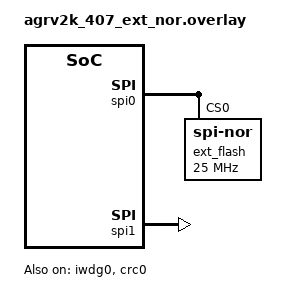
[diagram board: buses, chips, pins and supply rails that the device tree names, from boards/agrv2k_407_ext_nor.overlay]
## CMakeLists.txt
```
# SPDX-License-Identifier: Apache-2.0

cmake_minimum_required(VERSION 3.20.0)
find_package(Zephyr REQUIRED HINTS $ENV{ZEPHYR_BASE})
project(spi_boot_loader)

target_sources(app PRIVATE src/main.c)

target_include_directories(app PRIVATE src)

# Optional: the public key the driver verifies signed images with. Required when
# the build selects a BOOT_AGM_SIG_* profile, and written by
# `tools/sign_image.py --pubkey-out` in the form that profile keeps: raw 64-byte
# X||Y for ECDSA P-256, 270-byte PKCS#1 DER for RSA-2048 (AGM_BOOT_PUBKEY_LEN in
# include/zephyr/drivers/misc/boot_agm.h). The driver's weak default is all
# zeroes, which accepts nothing.
# STRING, not FILEPATH: CMake turns a relative FILEPATH cache value into an
# absolute one relative to the *current working directory* (the west
# workspace, for `west build`) before this file ever runs, which would silently
# point at the wrong place. Keeping it a string lets the resolution below use
# this directory -- so scenarios and hand-written commands can say
# `-DSPI_BOOT_PUBKEY=fixtures/ci_production.pub` and mean the sample's own
# fixtures/.
set(SPI_BOOT_PUBKEY "" CACHE STRING "trusted public key for signed builds (absolute, or relative to this directory)")
if(SPI_BOOT_PUBKEY AND NOT IS_ABSOLUTE "${SPI_BOOT_PUBKEY}")
	set(SPI_BOOT_PUBKEY "${CMAKE_CURRENT_SOURCE_DIR}/${SPI_BOOT_PUBKEY}")
endif()
if(CONFIG_BOOT_AGM_SIG_RSA2048_PSS)
	set(_pub_expect 270)
	set(_pub_what "270-byte PKCS#1 RSAPublicKey DER")
else()
	set(_pub_expect 64)
	set(_pub_what "raw 64-byte X||Y key")
endif()
if(SPI_BOOT_PUBKEY)
	if(NOT EXISTS "${SPI_BOOT_PUBKEY}")
		message(FATAL_ERROR "SPI_BOOT_PUBKEY=${SPI_BOOT_PUBKEY} does not exist")
	endif()
	file(READ "${SPI_BOOT_PUBKEY}" _pub_hex HEX)
	string(LENGTH "${_pub_hex}" _pub_hex_len)
	math(EXPR _pub_len "${_pub_hex_len} / 2")
	if(NOT _pub_len EQUAL ${_pub_expect})
		message(FATAL_ERROR
			"SPI_BOOT_PUBKEY must be the ${_pub_what}, got ${_pub_len} B")
	endif()
	string(REGEX REPLACE "(..)" "0x\\1," _pub_bytes "${_pub_hex}")
	set(_pub_c "${CMAKE_CURRENT_BINARY_DIR}/spi_boot_pubkey.c")
	file(WRITE "${_pub_c}"
"/* Generated from ${SPI_BOOT_PUBKEY} -- do not edit. */
#include <stdint.h>

const uint8_t agm_boot_pubkey[${_pub_expect}] = {
${_pub_bytes}
};
")
	# In the app target, not libzephyr: the driver ships a weak all-zeroes
	# default, and a strong definition inside the same archive would
	# never be picked over it.
	target_sources(app PRIVATE "${_pub_c}")
	message(STATUS "spi_boot_loader: trusted public key from ${SPI_BOOT_PUBKEY}")
endif()

# The production profile (CONFIG_BOOT_AGM_PRODUCTION_PROFILE) gates every
# state change behind a command signed with that key. Building it without one
# produces the exact board the production-lock design 6.4 warns about: it
# boots, it answers, and nothing can ever update it again in-band. The driver
# prints that at boot for applications that wire it up themselves; here, where
# the key is a build input, the build stops instead.
if(CONFIG_BOOT_AGM_PRODUCTION_PROFILE AND NOT SPI_BOOT_PUBKEY)
	message(FATAL_ERROR
		"CONFIG_BOOT_AGM_PRODUCTION_PROFILE=y needs a trusted public key: "
		"pass -DSPI_BOOT_PUBKEY=<file> (raw 64-byte X||Y from "
		"`tools/sign_image.py --pubkey-out`, or the 270-byte PKCS#1 DER for "
		"an RSA profile). A production image without one would refuse every "
		"state change -- see the production-lock design 6.4.")
endif()

# Optional: the trusted key for signed *fabric* (bitstream) images
# (CONFIG_BOOT_AGM_BITSTREAM_SIGNED). Always the raw 64-byte X||Y P-256 key,
# whatever the application profile is -- the fabric is verified in the boot
# path, before the kernel's heap exists, and only the tinycrypt P-256 verifier
# is allocation-free (include/zephyr/drivers/misc/agm_bitstream.h).
#
# Leaving this empty is fine in a P-256 build: the driver then falls back to
# `agm_boot_pubkey`, so one keypair signs both. An RSA build has nothing to
# fall back to and needs this to be set (otherwise the all-zeroes weak default
# refuses every fabric update, loudly).
set(SPI_BOOT_BITSTREAM_PUBKEY "" CACHE STRING
    "trusted public key for signed fabric builds (64 B raw X||Y; absolute, or relative to this directory)")
if(SPI_BOOT_BITSTREAM_PUBKEY AND NOT IS_ABSOLUTE "${SPI_BOOT_BITSTREAM_PUBKEY}")
	set(SPI_BOOT_BITSTREAM_PUBKEY "${CMAKE_CURRENT_SOURCE_DIR}/${SPI_BOOT_BITSTREAM_PUBKEY}")
endif()
if(SPI_BOOT_BITSTREAM_PUBKEY)
	if(NOT EXISTS "${SPI_BOOT_BITSTREAM_PUBKEY}")
		message(FATAL_ERROR
			"SPI_BOOT_BITSTREAM_PUBKEY=${SPI_BOOT_BITSTREAM_PUBKEY} does not exist")
	endif()
	file(READ "${SPI_BOOT_BITSTREAM_PUBKEY}" _bspub_hex HEX)
	string(LENGTH "${_bspub_hex}" _bspub_hex_len)
	math(EXPR _bspub_len "${_bspub_hex_len} / 2")
	if(NOT _bspub_len EQUAL 64)
		message(FATAL_ERROR
			"SPI_BOOT_BITSTREAM_PUBKEY must be the raw 64-byte X||Y P-256 key, got ${_bspub_len} B")
	endif()
	string(REGEX REPLACE "(..)" "0x\\1," _bspub_bytes "${_bspub_hex}")
	set(_bspub_c "${CMAKE_CURRENT_BINARY_DIR}/spi_boot_bitstream_pubkey.c")
	file(WRITE "${_bspub_c}"
"/* Generated from ${SPI_BOOT_BITSTREAM_PUBKEY} -- do not edit. */
#include <stdint.h>

const uint8_t agm_boot_bitstream_pubkey[64] = {
${_bspub_bytes}
};
")
	target_sources(app PRIVATE "${_bspub_c}")
	message(STATUS "spi_boot_loader: fabric public key from ${SPI_BOOT_BITSTREAM_PUBKEY}")
endif()
```

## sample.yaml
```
# SPDX-License-Identifier: Apache-2.0
sample:
  name: spi_boot_loader
  description: |
    Stage-1 bootloader: lives in the on-die flash, keeps a boot record plus
    an A/B pair of images in the flash pointed at by `store-flash` (the
    on-board SPI NOR by default, or the on-die flash itself for the
    on-die-only layout), copies the winning image into the on-die
    application slot and runs it, and can update the fabric bitstream. The
    protocol servers (AN3155 for agrv32flash, SMP for mcumgr) are part of
    the boot driver. Builds are hardware-dependent (bitstream routing), so
    both cases are build_only.
tests:
  sample.spi_boot_loader.agm_agrv2k_407:
    build_only: true
    platform_allow:
      - agrv2k_407
    integration_platforms:
      - agrv2k_407
    tags:
      - ci_build
      - hal_ag32
  sample.spi_boot_loader.ext_nor.agm_agrv2k_407:
    build_only: true
    extra_args:
      - EXTRA_DTC_OVERLAY_FILE=boards/agrv2k_407_ext_nor.overlay
    platform_allow:
      - agrv2k_407
    integration_platforms:
      - agrv2k_407
    tags:
      - ci_build
      - hal_ag32
  # The trimmed build: both protocol servers off. This is what caught the
  # console calling into the AN3155 server unconditionally -- turning the
  # option off used to be a link error instead of a smaller image (the
  # sample's own 0x7F INIT handler and `an-status` command were the two
  # references; the driver-side ones are already guarded by the header).
  sample.spi_boot_loader.trimmed.agm_agrv2k_407:
    build_only: true
    extra_configs:
      - CONFIG_BOOT_AGM_AN3155=n
      - CONFIG_BOOT_AGM_SMP=n
    platform_allow:
      - agrv2k_407
    integration_platforms:
      - agrv2k_407
    tags:
      - ci_build
      - hal_ag32
  # The signed fabric: the bitstream slots hold signed MCUboot containers, so
  # the boot path verifies the fabric before it streams it. No key is passed
  # (the driver's weak default is all zeroes and accepts nothing) -- what this
  # scenario covers is the build itself: the Kconfig combination, the
  # tinycrypt link, and the interrupt-stack requirement, which is a
  # BUILD_ASSERT in soc/agm/agrv2k/fcb.c precisely because getting it wrong
  # leaves a board that never reaches the console.
  sample.spi_boot_loader.bs_signed.agm_agrv2k_407:
    build_only: true
    extra_configs:
      - CONFIG_BOOT_AGM_SIG_ECDSA_P256=y
      - CONFIG_BOOT_AGM_BITSTREAM_SIGNED=y
      - CONFIG_ISR_STACK_SIZE=4096
    platform_allow:
      - agrv2k_407
    integration_platforms:
      - agrv2k_407
    tags:
      - ci_build
      - hal_ag32
  # ... and the same with an RSA application profile, which is the build that
  # links *both* verifiers: PSA/RSA for the application images and tinycrypt
  # P-256 for the fabric.
  sample.spi_boot_loader.bs_signed_rsa.agrv2k_407:
    build_only: true
    extra_configs:
      - CONFIG_BOOT_AGM_SIG_RSA2048_PSS=y
      - CONFIG_BOOT_AGM_BITSTREAM_SIGNED=y
      - CONFIG_ISR_STACK_SIZE=4096
      - CONFIG_MBEDTLS_PSA_KEY_SLOT_COUNT=2
    platform_allow:
      - agrv2k_407
    integration_platforms:
      - agrv2k_407
    tags:
      - ci_build
      - hal_ag32
  # The production profile's shape (R2b, the production-lock design 6.4):
  # publishing an upload and erasing a target need a signed command, and the
  # vendor tool's server -- which cannot carry one -- is compiled out. No key is
  # passed, as in bs_signed above: a locked build with no P-256 key refuses
  # every state change (fail closed), and what this scenario pins is that the
  # combination builds (it links tinycrypt for the command verifier).
  sample.spi_boot_loader.locked.agm_agrv2k_407:
    build_only: true
    extra_configs:
      - CONFIG_BOOT_AGM_AN3155=n
      - CONFIG_BOOT_AGM_LOCK_PRODUCTION=y
    platform_allow:
      - agrv2k_407
    integration_platforms:
      - agrv2k_407
    tags:
      - ci_build
      - hal_ag32
  # The production profile's *shipped* shape: one preset pulls in the lock, the
  # SMP server (the only path that can sign a command), the signed fabric and
  # the mcumgr/base64 stack it needs, defaults AN3155 off and the signature
  # profile to ECDSA P-256 (see CONFIG_BOOT_AGM_PRODUCTION_PROFILE). The public
  # key is a checked-in CI key (fixtures/README.md): without any key the
  # sample's CMake refuses to configure, which is the point -- a production
  # image nobody can update again is a build error, not a surprise found on a
  # board. ISR_STACK_SIZE is what the signed-fabric verifier needs (fcb.c has
  # the BUILD_ASSERT).
  sample.spi_boot_loader.production.agm_agrv2k_407:
    build_only: true
    extra_args:
      - SPI_BOOT_PUBKEY=fixtures/ci_production.pub
    extra_configs:
      - CONFIG_BOOT_AGM_PRODUCTION_PROFILE=y
      - CONFIG_ISR_STACK_SIZE=4096
    platform_allow:
      - agrv2k_407
    integration_platforms:
      - agrv2k_407
    tags:
      - ci_build
      - hal_ag32
```

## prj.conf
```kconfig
# SPDX-License-Identifier: Apache-2.0
#
# Stage-1 loader: lives in the on-die flash (XIP), owns a boot record and a
# payload in the on-board SPI NOR, and jumps into the payload.
CONFIG_XIP=y

CONFIG_SERIAL=y
CONFIG_UART_CONSOLE=y
CONFIG_PRINTK=y
CONFIG_STDOUT_CONSOLE=y

# External SPI NOR on SPI0 (through the fabric patch in the canonical
# bitstream) -- same stack samples/spi_nor_flash uses. The default layout keeps
# everything on-die and does not touch the NOR at all, so these are only needed
# for boards/agrv2k_407_ext_nor.overlay; leaving them on costs ~9 KB of a
# 96 KiB region and keeps one binary working for both.
CONFIG_SPI=y
CONFIG_FLASH=y
CONFIG_SPI_NOR_FLASH_LAYOUT_PAGE_SIZE=4096
# The on-die flash driver (drivers/flash/flash_agm.c) is what lets the loader
# write the application slot at 0x80010000.
CONFIG_FLASH_AGM=y
CONFIG_FLASH_PAGE_LAYOUT=y
# The engine's long transfers (page reads/writes) stream through DMA, and
# the SPI driver's config keeps a DMA device pointer -- without CONFIG_DMA
# the link fails on the DMA device object. Same as the other SPI samples.
CONFIG_DMA=y

# Boot record + payload CRC.
CONFIG_CRC=y

# The backup-domain IWDG is pulled in by CONFIG_BOOT_AGM_TRIAL_WATCHDOG (the
# loader arms it right before a trial boot so an image that hangs resets the
# board instead of wedging it -- the A/B attempt counter only advances on a
# reset). See the trial-boot handshake in
# include/zephyr/drivers/misc/boot_agm.h; the board overlay enables &iwdg0.
# The on-die A/B layout, whose loader region is 64 KiB, turns the feature off
# instead (see boards/agrv2k_407_on_die_ab.overlay and sample.yaml).

# The `reboot` command: after a bitstream update the new fabric only takes
# effect on the next boot (the boot path programs the FCB from flash).
CONFIG_REBOOT=y

# The loader's informational boot log (which fabric slot the FCB streamed this
# boot, and similar) sits behind this switch so a production image does not
# spend early-console time on it; the loader sample keeps it on because the
# dev-board workflow reads those lines (-15).
CONFIG_BOOT_AGM_VERBOSE_LOG=y

# mcumgr (SMP) -- the second host protocol next to AN3155/agrv32flash. Only
# the transport layer is taken from Zephyr; the image management group is the
# boot driver's (it keeps CRC32 records and its own stores, where the stock
# group wants MCUboot image headers and a flash map). CONFIG_BOOT_AGM_SMP
# selects CONFIG_MCUMGR_TRANSPORT_SERIAL_HAS_SMP_OVER_CONSOLE, which pulls in
# the base64 line framing helpers (mcumgr_serial_process_frag/_tx_pkt) without
# enabling the UART driver that would take the console port for itself.
# CONFIG_MCUMGR is "depends on" these two, so they have to be on as well
# (otherwise MCUMGR is silently forced back to n).
CONFIG_ZCBOR=y
CONFIG_NET_BUF=y
CONFIG_MCUMGR=y
CONFIG_MCUMGR_GRP_OS=y
# The hosts ask for the MCUmgr parameters before the first upload (smpmgr
# fails with "is the device an SMP server?" without it): it tells the client
# how big a chunk it may send.
CONFIG_MCUMGR_GRP_OS_MCUMGR_PARAMS=y
CONFIG_MCUMGR_GRP_OS_INFO=y
CONFIG_MCUMGR_TRANSPORT_NETBUF_SIZE=512
CONFIG_MCUMGR_TRANSPORT_NETBUF_COUNT=4
# The console loop below polls the UART without ever blocking (that is what
# keeps the tail of a typed line from being dropped), so the mcumgr request
# work queue has to preempt it -- at the default priority 3 (below main's 0)
# it would never get to run and every SMP request would time out.
CONFIG_MCUMGR_TRANSPORT_WORKQUEUE_THREAD_PRIO=-1
# ... and that work queue is where an upload's *verification* runs (the
# publish happens in the chunk handler), so its stack has to hold the whole
# crypto chain: the container hash, the ECDSA/RSA check and -- with
# CONFIG_BOOT_AGM_BIND -- the per-chip tag. The Zephyr default (2048) is not
# enough for all three: measured 2026-09-24, a bound loader with the default
# overflowed this stack inside the check, corrupted a saved return address and
# faulted with an illegal instruction (mcause 2, mepc in RAM below the stack)
# right after printing the refusal; 4096 runs the same upload cleanly. A
# signed build without binding fits in 2048, which is why this only shows up
# now. drivers/misc/boot_agm_bind.c asserts the floor at compile time.
CONFIG_MCUMGR_TRANSPORT_WORKQUEUE_STACK_SIZE=4096
CONFIG_BASE64=y

# The console is polled straight off the UART device: Zephyr's console
# helpers are a choice between console_getchar() and console_getline(), and
# this loader needs both styles -- a non-blocking "is a key pending?" for the
# boot window (the equivalent of the vendor DFU's "stay in DFU" button) and a
# blocking line reader for commands.

CONFIG_MAIN_STACK_SIZE=3072
```

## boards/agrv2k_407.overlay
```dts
/* SPDX-License-Identifier: Apache-2.0 */
/*
 * Default layout: A/B entirely inside the on-die flash, no external NOR.
 *
 * The loader, the boot record, both image sides, the application slot and the
 * bitstream staging all live in the 1 MiB the SoC has anyway, so the loader
 * never touches the SPI NOR -- a board without one works, and a fabric
 * bitstream that does not route SPI0 back to the engine is not a failure mode
 * any more (the port record (peripherals) 3.26.7).
 *
 * The sizes are the whole configuration: `loader-size` and `app-size` (a
 * binding default of 200 KiB). The driver derives the offsets from them, and
 * the rest is fixed by the SoC (agm_bitstream.h) -- the fabric A/B slots, the
 * bitstream record and the factory region all sit at the same addresses in
 * whichever family the board uses:
 *
 *   0x000000  loader               96 KiB   (loader-size)
 *   0x018000  side A              200 KiB   (app-size)
 *   0x04a000  side B              200 KiB   (app-size)
 *   0x07c000  application slot    200 KiB   (app-size; runs at 0x8007c000)
 *   0x0ae000  app boot record       8 KiB   (two erase sectors, two copies)
 *   0x0b0000  bind-salt sector      4 KiB   (derived: right after the record)
 *   0x0b1000  free                 12 KiB   (app-size can grow into it)
 *   0x0b4000  fabric slot 1       100 KiB   (derived from the factory anchor)
 *   0x0cd000  fabric slot 2       100 KiB   (derived)
 *   0x0e6000  fabric A/B record     4 KiB   (derived)
 *   0x0e7000  factory fabric      100 KiB   (the option byte's target)
 *
 * Every position is derived: the app chain packs up from 0 (loader, A, B,
 * the application slot, then the 12 KiB metadata block: boot record + salt),
 * the fabric area packs down from the factory anchor (Config
 * AGM_BITSTREAM_FACTORY_ADDR / _SLOT_SIZE in drivers/misc/Kconfig.agm), and
 * the build asserts where the two meet -- raise `app-size` and the assertion
 * is what tells you when it no longer fits (12 KiB of headroom today). The
 * full picture, the two layout families and who writes what:
 * docs/FLASH-LAYOUT.md.
 *
 * 96 KiB for the loader is deliberate: the signed loader is 72768 B
 * (measured 2026-09-18) plus the 604 B of trial-watchdog driver, so the
 * layout that used to be unable to hold either now holds both.
 *
 * The two-flash variant lives in boards/agrv2k_407_ext_nor.overlay.
 */

/*
 * The loader's own region. Pointing `/chosen/zephyr,flash` at a *partition* is
 * what gives the RISC-V linker its ROM base and size (CONFIG_FLASH_BASE_ADDRESS
 * / CONFIG_FLASH_SIZE, see include/zephyr/arch/riscv/common/linker.ld), so a
 * loader that grows past its region fails the build instead of running into
 * the boot record -- measured 2026-09-18: the signed loader (72768 B) silently
 * grew into the record, and both the build and the flash write reported
 * success (the port record (peripherals) 3.26.27).
 *
 * Keep this in step with `loader-size` in the boot node below.
 */
&flash0 {
	partitions {
		compatible = "fixed-partitions";
		#address-cells = <1>;
		#size-cells = <1>;

		loader_region: partition@80000000 {
			label = "boot_loader";
			reg = <0x80000000 0x18000>;
		};
	};
};

/ {
	chosen {
		zephyr,flash = &loader_region;
	};
};

/*
 * The layout (the binding's "on-die" family: `store-flash` and
 * `on-die-flash` are the same node, so the driver derives the offsets).
 */
/ {
	boot: boot {
		compatible = "agm,agrv2k-boot";
		status = "okay";

		store-flash = <&flash0>;
		on-die-flash = <&flash0>;

		/* How big the application may get. Both sides and the
		 * execution slot are sized for it; 200 KiB is the default, so
		 * this line is the knob to turn when an image outgrows it. */
		app-size = <0x32000>;
		/* Everything below the boot record belongs to the loader. */
		loader-size = <0x18000>;

		bitstream-address = <0x800e7000>;
		bitstream-size = <0x00019000>;
	};
};

/*
 * The backup-domain watchdog the loader arms before a trial boot: the IWDG is
 * the only reset source that also runs in standby, so the dtsi leaves it
 * disabled and each user has to ask for it.
 */
&iwdg0 {
	status = "okay";
};

/*
 * The CRC unit, for the slot/record CRCs the loader computes on every boot.
 * Enabling the node is not enough: Zephyr's CRC hardware handler keys off the
 * `zephyr,crc` chosen node (subsys/crc/Kconfig), and with one present it
 * replaces the weak software crc32_ieee() with the driver-backed one --
 * measured on this board: the 99944 B fabric CRC drops from ~67 ms to ~3.5 ms.
 * soc.c opens the unit's AHB clock gate before the fabric verifier runs.
 */
&crc0 {
	status = "okay";
};

/ {
	chosen {
		zephyr,crc = &crc0;
	};
};
```

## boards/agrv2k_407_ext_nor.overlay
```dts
/* SPDX-License-Identifier: Apache-2.0 */
/*
 * Two-flash A/B: the boot record and the image stores live in the on-board
 * SPI NOR, the application slot and everything fabric-related in the on-die
 * flash. Note the asymmetry: the *staging* for fabric images does **not**
 * move to the NOR -- the fabric A/B slots, their record and the factory
 * region are fixed on-die by the SoC (agm_bitstream.h), because fcb.c has to
 * find the record before any driver runs, in every image. The NOR only holds
 * application images here. This is *not* the default any more (the default
 * keeps everything on-die, see boards/agrv2k_407.overlay) -- use it when the
 * external NOR is there and its 2 MiB are wanted:
 *
 *   west build -d /tmp/b_nor -b agrv2k_407 --pristine=auto \
 *       modules/hal_ag32/samples/spi_boot_loader -- \
 *       -DEXTRA_DTC_OVERLAY_FILE=boards/agrv2k_407_ext_nor.overlay
 *
 * Everything below is the layout; the loader's own region and the trial-boot
 * watchdog are set up the same way the default overlay does it.
 */
/*
 * The on-board SPI NOR, as samples/spi_nor_flash/spi_flash_id set it up.
 *
 * Which controller reaches the flash is a bitstream property: the canonical
 * 200 MHz bitstream (`<your canonical bitstream>`) puts
 * it behind SPI0's fabric patch -- measured 2026-09-17 with spi_flash_id:
 * `spi@40012000` reads RDID 68 40 15, SPI1 reads zeros. Both are enabled
 * here so the loader works on either routing; the flash node is only
 * attached to SPI0, which is the one the loader uses.
 */
&spi0 {
	status = "okay";

	ext_flash: flash@0 {
		compatible = "jedec,spi-nor";
		reg = <0>;
		spi-max-frequency = <25000000>;
		jedec-id = [68 40 15];
		/* Binding says "capacity in bits": 16 Mbit = 2 MiB. */
		size = <0x1000000>;
	};
};

&spi1 {
	status = "okay";
};

&dma0 {
	status = "okay";
};

/*
 * The loader's own region, i.e. everything below the application slot.
 *
 * This is not decoration: pointing `/chosen/zephyr,flash` at a *partition*
 * is what gives the RISC-V linker its ROM base and size
 * (CONFIG_FLASH_BASE_ADDRESS / CONFIG_FLASH_SIZE, see
 * include/zephyr/arch/riscv/common/linker.ld), so a loader that grows past
 * its region fails the build instead of running into whatever the next
 * region holds -- measured 2026-09-18: the signed loader (72768 B) silently
 * grew into the on-die layout's boot record at 0x010000, and both the build
 * and the flash write reported success.
 *
 * The region is `slot-address - flash base` (the slot below is the first
 * thing that must not be overwritten); the default on-die overlay sizes it
 * from the boot node's `loader-size` instead.
 */
&flash0 {
	partitions {
		compatible = "fixed-partitions";
		#address-cells = <1>;
		#size-cells = <1>;

		loader_region: partition@80000000 {
			label = "boot_loader";
			reg = <0x80000000 0x30000>;
		};
	};
};

/ {
	chosen {
		zephyr,flash = &loader_region;
	};
};

/*
 * The bootloader's storage layout (the "two flashes" family of the binding:
 * every offset is spelled out because the two flashes are independent address
 * spaces).
 */
/ {
	boot: boot {
		compatible = "agm,agrv2k-boot";
		status = "okay";

		store-flash = <&ext_flash>;
		on-die-flash = <&flash0>;

		/* External NOR: the record takes sectors 0 and 1 (it is an
		 * append log, see the port record (peripherals) 3.26.24),
		 * the stores follow 512 KiB apart. */
		record-offset = <0x000000>;
		record-size = <0x001000>;
		store-a-offset = <0x002000>;
		store-b-offset = <0x081000>;
		store-max-size = <0x07f000>;

		/* On-die flash: application slot, then the fabric reservation. */
		slot-address = <0x80030000>;
		slot-size = <0x00080000>;
		bitstream-address = <0x800e7000>;
		bitstream-size = <0x00019000>;

	};
};

/*
 * The backup-domain watchdog the loader arms before a trial boot (W3 in
 * the boot/DFU notes): the IWDG is the only reset source that also runs
 * in standby, so the dtsi leaves it disabled and each user has to ask for it.
 */
&iwdg0 {
	status = "okay";
};

/* Same CRC unit as the on-die layout: the loader CRCs every slot it boots
 * (see the on-die overlay for the measurement and the chosen-node rule). */
&crc0 {
	status = "okay";
};

/ {
	chosen {
		zephyr,crc = &crc0;
	};
};
```

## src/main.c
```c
/*
 * Copyright (c) 2026 AgRV Contributors
 * SPDX-License-Identifier: Apache-2.0
 */

/**
 * @file
 * @brief spi_boot_loader -- the console in front of the AgRV2K boot driver.
 *
 * All of the storage and DFU logic lives in the driver
 * (drivers/misc/boot_agm.c, include/zephyr/drivers/misc/boot_agm.h); this
 * file is the operator interface:
 *
 *   - the line-oriented console (help/info/mode/once/install-slot/confirm/
 *     rollback/erase/boot/upload/an-status/reboot);
 *   - the demultiplexer that gives the console UART to the two protocol
 *     servers: 0x7F starts an AN3155 session (agrv32flash) and the
 *     0x0609/0x0414 line headers feed mcumgr (smpmgr);
 *   - the 1.5 s boot window: any character cancels the boot and keeps the
 *     console, which is the only way back in when the record points at a bad
 *     image.
 */

#include <zephyr/device.h>
#include <zephyr/devicetree.h>
#include <zephyr/drivers/misc/boot_agm.h>
#include <zephyr/drivers/uart.h>
#include <zephyr/kernel.h>
#include <zephyr/sys/crc.h>
#include <zephyr/sys/printk.h>
#include <zephyr/sys/reboot.h>
#include <zephyr/sys/util.h>

#include <stdio.h>
#include <string.h>

#if IS_ENABLED(CONFIG_MCUMGR_TRANSPORT_SERIAL_HAS_SMP_OVER_CONSOLE)
#include <zephyr/mgmt/mcumgr/transport/serial.h>
/* mcumgr support is compiled in (CONFIG_BOOT_AGM_SMP). */
#define BOOT_LOADER_SMP 1
#endif

/* The AN3155 server (agrv32flash's protocol) is a driver-side option, so the
 * console's entry point into it -- the 0x7F INIT byte and the `an-status`
 * command -- has to disappear with it: with CONFIG_BOOT_AGM_AN3155=n the
 * header declares neither `agm_boot_an3155_run()` nor its status printer, and
 * the driver source is not compiled in. Leaving these calls unguarded was what
 * made "the trimmed build" (AN3155 off, along with mcumgr's ~13 KB) fail to
 * link instead of just getting smaller. */
#if IS_ENABLED(CONFIG_BOOT_AGM_AN3155)
#define BOOT_LOADER_AN3155 1
#endif

#define BOOT_DEV DEVICE_DT_GET(DT_NODELABEL(boot))

/* The loader is linked against the `boot_loader` partition (the board overlay
 * points /chosen/zephyr,flash at it) while the boot node separately says how
 * much of the flash below the record belongs to the loader. Nothing bound
 * those two numbers together: change one and the mismatch shows up as a link
 * error at best, or as a loader that grew into the record at worst (the
 * 2026-09-18 incident). Bind them here (RF-NEW-008).
 *
 * Which number that is depends on the layout family, same as in the driver:
 * the on-die family derives everything from `loader-size`, the two-flash
 * family spells the slot out and the loader owns everything below it. */
#define T_BOOT_NODE DT_NODELABEL(boot)

#if DT_SAME_NODE(DT_PROP(T_BOOT_NODE, store_flash), DT_PROP(T_BOOT_NODE, on_die_flash))
#define T_LOADER_REGION_SIZE ((uint32_t)DT_PROP(T_BOOT_NODE, loader_size))
#else
#define T_LOADER_REGION_SIZE ((uint32_t)DT_PROP(T_BOOT_NODE, slot_address) - \
			      (uint32_t)DT_REG_ADDR(DT_PROP(T_BOOT_NODE, on_die_flash)))
#endif

BUILD_ASSERT(DT_REG_SIZE(DT_NODELABEL(loader_region)) == T_LOADER_REGION_SIZE,
	     "the boot_loader partition and the boot node's loader region disagree");

/* How long the boot decision waits for a keypress before it acts on the
 * record. Without this the console is unreachable whenever the record says
 * "boot the image" -- including when that image is exactly what needs
 * replacing. */
#define BOOT_ABORT_WINDOW_MS 1500

static const struct device *const console_uart =
	DEVICE_DT_GET(DT_CHOSEN(zephyr_console));

/* ---- console -------------------------------------------------------- */

static bool console_poll_char(char *c)
{
	return agm_boot_console_poll(BOOT_DEV, c) == 0;
}

#define SMP_HDR_PKT_1  0x06U
#define SMP_HDR_FRAG_1 0x04U

/* How long one mcumgr line may take before it is dropped. A host writes a
 * line in one burst (the 5 ms header window above is the same idea); this
 * only has to outlast the USB CDC latency, not a slow human. */
#define SMP_LINE_TIMEOUT_MS 1000

#ifdef BOOT_LOADER_SMP
/* Collect the rest of one mcumgr line and hand it to the SMP server.
 *
 * mcumgr's UART framing is base64 lines behind a header: 0x0609 starts a
 * packet, 0x0414 continues a fragmented one, and the line ends with '\n'
 * (exactly what Zephyr's own UART transport driver feeds to
 * mcumgr_serial_process_frag(), newline included). Nothing is echoed: the
 * host reads protocol replies, not our console.
 *
 * Returns false when the bytes are not a frame header after all (a stray 0x06
 * typed at the console), so the caller can keep treating them as text.
 */
static bool console_smp_line(uint8_t c_in)
{
	static uint8_t frag[MCUMGR_SERIAL_MAX_FRAME + 8U];
	uint32_t n = 0U;
	int64_t from = k_uptime_get();
	char c;

	frag[n++] = c_in;

	/* The second header byte follows immediately in the same burst. */
	while (k_uptime_get() - from < 5) {
		if (console_poll_char(&c)) {
			if ((uint8_t)c != MCUMGR_SERIAL_HDR_PKT_2 &&
			    (uint8_t)c != MCUMGR_SERIAL_HDR_FRAG_2) {
				return false;
			}
			frag[n++] = (uint8_t)c;
			break;
		}
		arch_nop();
	}
	if (n != 2U) {
		return false;
	}

	/* Then the base64 payload and the newline that ends the line. A
	 * fragmented packet arrives as several such lines.
	 *
	 * Bounded on purpose: a host that starts a line and never ends it (or a
	 * stray 0x06 typed at the console) used to park this loop forever, and
	 * the only way back was a reset (measured 2026-09-18). A line longer
	 * than the buffer is a bad frame too -- do not silently drop its tail. */
	for (;;) {
		if (console_poll_char(&c)) {
			if (n >= sizeof(frag)) {
				printk("loader: mcumgr line too long, dropped\n");
				return false;
			}
			frag[n++] = (uint8_t)c;
			from = k_uptime_get();
			if (c == '\n') {
				break;
			}
			continue;
		}
		if (k_uptime_get() - from > SMP_LINE_TIMEOUT_MS) {
			printk("loader: mcumgr line timed out, dropped\n");
			return false;
		}
		arch_nop();
	}

	agm_boot_smp_rx(BOOT_DEV, frag, n);
	return true;
}
#endif /* BOOT_LOADER_SMP */

/* Blocking line reader with echo: CR/LF ends the line, backspace edits it.
 *
 * Returns true when @a buf holds a command. It returns false when the console
 * was handed to the AN3155 server instead -- and then @a buf must not be
 * parsed: it used to be left holding the *previous* command, so every
 * agrv32flash session ended by running that command again (measured
 * 2026-09-18: `erase` re-ran after a read-only session). */
static bool console_read_line(char *buf, size_t len)
{
	size_t n = 0;
	char c;

	for (;;) {
		/* Tight poll: the PL011 RX FIFO is 16 bytes deep (the SDK
		 * configures UART_LCR_FIFO_16) and the probe's CDC-ACM bridge
		 * delivers a typed line as one burst, so anything slower than a
		 * busy loop drops the tail of the line -- measured 2026-09-17:
		 * a 19-byte command arrived as 15 bytes and never terminated. */
		if (!console_poll_char(&c)) {
			arch_nop();
			continue;
		}
		if (c == 0x7F) {
			/* The vendor tool's INIT byte: hand the console over to
			 * the AN3155 server (agrv32flash -m 8n1 ...). It has to be
			 * recognised even mid-line -- leftover bytes from a
			 * previous session used to leave n > 0, and then the INIT
			 * was eaten as text and the tool reported "Failed to init
			 * device". 0x7F is not treated as backspace (use 0x08). */
			buf[0] = '\0';
#ifdef BOOT_LOADER_AN3155
			agm_boot_an3155_run(BOOT_DEV);
			return false;
#else
			/* No AN3155 server in this build: swallow the byte so it
			 * cannot end up in the next command line. */
			printk("loader: AN3155 is not compiled in "
			       "(CONFIG_BOOT_AGM_AN3155=n)\n");
			continue;
#endif
		}
#ifdef BOOT_LOADER_SMP
		if (c == (char)SMP_HDR_PKT_1 || c == (char)SMP_HDR_FRAG_1) {
			/* mcumgr (SMP over console): hand the line over and stay
			 * in the console loop. */
			if (console_smp_line((uint8_t)c)) {
				continue;
			}
		}
#endif
		if (c == '\r' || c == '\n') {
			/* The LF of a CRLF ending is left in the FIFO on purpose:
			 * the upload phase skips stray line endings before the
			 * first frame byte, while peeking here would swallow the
			 * first byte of a binary phase that follows immediately. */
			printk("\r\n");
			break;
		}
		if (c == '\b') {
			if (n > 0) {
				n--;
				printk("\b \b");
			}
			continue;
		}
		if (n + 1 < len) {
			buf[n++] = c;
			uart_poll_out(console_uart, c);
		}
	}
	buf[n] = '\0';
	return true;
}

/* ---- boot window ---------------------------------------------------- */

static bool console_abort_requested(void)
{
	char c;

	printk("loader: booting in %u ms -- send any character to stay in the "
	       "console\n", BOOT_ABORT_WINDOW_MS);

	for (uint32_t waited = 0; waited < BOOT_ABORT_WINDOW_MS; waited += 50) {
		if (console_poll_char(&c)) {
			printk("loader: console input detected -- boot cancelled\n");
			return true;
		}
		k_msleep(50);
	}
	return false;
}

/* ---- console commands ----------------------------------------------- */

static void print_help(void)
{
	printk("commands:\n"
	       "  info                             one-shot + record + slot state\n"
	       "  mode <auto|internal>             persistent boot mode\n"
	       "  once <none|internal>             next boot only (RTC backup domain)\n"
	       "  confirm                          promote the active store to CONFIRMED\n"
	       "  rollback                         make the other store active\n"
	       "  upload <a|b|slot|bitstream>      receive an image over this console\n"
	       "                                   (slot = on-die flash DFU; see\n"
	       "                                   tools/agm_upload.py)\n"
	       "  install-slot                     copy the active store into the\n"
	       "                                   on-die application slot\n"
	       "  erase [a|bitstream]             drop store A's image, or the pending bitstream\n"
#ifdef BOOT_LOADER_AN3155
	       "  an-status                        last AN3155 session's diagnostics\n"
#endif
	       "  reboot                           cold reboot\n"
	       "  boot                             apply the boot policy now\n"
#if defined(CONFIG_BOOT_AGM_LOCK_PRODUCTION)
	       /* Review RF-007: an operator who tries upload/erase here gets
		* the driver's refusal, and this is the line that says what to
		* do instead. The two paths cannot be handed the second grant an
		* upload needs (see the Kconfig help). */
	       "production lock is on: upload/publish/erase need a signed command --\n"
	       "  upload from a host instead: tools/smp_cli.py <port> upload <image> <file>\n"
	       "  --authorize <key.pem>  (this console and agrv32flash cannot publish)\n"
#endif
	       );
}

static void print_info(void)
{
	struct agm_boot_info info;

	agm_boot_info_get(BOOT_DEV, &info);

	printk("one-shot : %s\n", agm_boot_mode_name(info.once));
	if (info.record_valid) {
		printk("record   : magic ok, mode %s, active %c\n",
		       agm_boot_mode_name(info.mode), info.active == 0U ? 'A' : 'B');
		/* The anti-rollback floor (0 in builds without
		 * CONFIG_BOOT_AGM_ANTI_ROLLBACK): the lowest version an upload may
		 * carry from here on. */
		printk("floor    : v%u.%u.%u\n", (unsigned)(info.sec_ver >> 24),
		       (unsigned)((info.sec_ver >> 16) & 0xffU),
		       (unsigned)(info.sec_ver & 0xffffU));
	} else if (info.record_read_failed) {
		/* The sector could not be read at init: not the same as an empty
		 * (readable, erased) one, and not the same as a corrupt record --
		 * nothing here says what the flash actually holds. */
		printk("record   : unreadable (the record sector read failed at "
		       "init -- state below is not trusted)\n");
	} else if (info.record_blank) {
		/* Nothing has been installed yet -- the normal state right after a
		 * flash (and the only state an on-die A/B board starts in, since
		 * its record sector is blank until the first upload). */
		printk("record   : empty (nothing installed yet)\n");
	} else {
		printk("record   : invalid (magic 0x%08x, version %u)\n",
		       info.record_magic, info.record_version);
	}

	for (uint32_t i = 0U; i < 2U; i++) {
		const struct agm_boot_slot_info *s = &info.slot[i];

		/* "store" is the offset inside whichever flash backs the record
		 * and the stores; with the on-die A/B layout that flash is the
		 * on-die one, so the label must not say "ext". */
		if (s->src == AGM_BOOT_SRC_ON_DIE) {
			printk("store %c  : %-9s attempts %u/%u, on-die 0x%08x+%u, "
			       "load 0x%08x crc 0x%08x\n", i == 0U ? 'A' : 'B',
			       agm_boot_slot_state_name(s->state), s->attempts,
			       (uint32_t)AGM_BOOT_MAX_ATTEMPTS,
			       agm_boot_target_window_base(BOOT_DEV,
							   AGM_BOOT_TARGET_SLOT),
			       s->len, s->load, s->crc);
		} else {
			printk("store %c  : %-9s attempts %u/%u, store 0x%06x+%u, "
			       "load 0x%08x crc 0x%08x\n", i == 0U ? 'A' : 'B',
			       agm_boot_slot_state_name(s->state), s->attempts,
			       (uint32_t)AGM_BOOT_MAX_ATTEMPTS, s->offset, s->len,
			       s->load, s->crc);
		}
	}
	printk("on-die   : slot at 0x%08x %s\n",
	       agm_boot_target_window_base(BOOT_DEV, AGM_BOOT_TARGET_SLOT),
	       info.slot_programmed ? "(programmed)" : "(blank)");
	if (agm_boot_bind_salt_addr() != 0U) {
		/* What tools/agm_bind.py provisions and reads: printed rather than
		 * kept in a host-side constant, because the address is derived
		 * from the layout sizes (docs/FLASH-LAYOUT.md). */
		printk("bind-salt: 0x%08x (one sector)\n", agm_boot_bind_salt_addr());
	}

	/* The chip's 128-bit ID: the host half of per-chip binding needs it
	 * (tools/agm_bind.py), and printing it here is also how the dev board
	 * checks that the device's own flex-read path agrees with SWD. */
	{
		uint8_t uid[AGM_BOOT_UID_LEN];

		if (agm_boot_unique_id(uid) == 0) {
			printk("uid      : %02x%02x%02x%02x %02x%02x%02x%02x "
			       "%02x%02x%02x%02x %02x%02x%02x%02x\n",
			       uid[0], uid[1], uid[2], uid[3], uid[4], uid[5], uid[6], uid[7],
			       uid[8], uid[9], uid[10], uid[11], uid[12], uid[13], uid[14],
			       uid[15]);
		} else {
			printk("uid      : <read failed>\n");
		}
	}

#if defined(CONFIG_BOOT_AGM_BIND)
	/* The salt and the key it derives: the fingerprint is what the
	 * provisioning tool compares against (tools/agm_bind.py provision),
	 * so "the board read the salt we wrote" is checkable without the key
	 * ever leaving the chip. */
	{
		uint8_t fp[AGM_BOOT_BIND_FP_LEN];

		if (agm_boot_bind_fingerprint(fp) == 0) {
			printk("bind     : salt v1 present, key fp %02x%02x%02x%02x\n",
			       fp[0], fp[1], fp[2], fp[3]);
		} else {
			printk("bind     : no salt provisioned -- this build runs only "
			       "images bound to this chip\n");
		}
	}
#endif
}

static bool parse_mode(const char *s, enum agm_boot_mode *out)
{
	if (!strcmp(s, "auto")) {
		*out = AGM_BOOT_MODE_AUTO;
	} else if (!strcmp(s, "internal")) {
		*out = AGM_BOOT_MODE_INTERNAL;
	} else {
		return false;
	}
	return true;
}

static void handle_line(char *line)
{
	char *cmd = strtok(line, " \t\r\n");

	if (cmd == NULL) {
		return;
	}

	if (!strcmp(cmd, "help")) {
		print_help();
	} else if (!strcmp(cmd, "info")) {
		print_info();
	} else if (!strcmp(cmd, "boot")) {
		/* No abort window: the operator asked for it explicitly. */
		(void)agm_boot_policy_run(BOOT_DEV, NULL);
	} else if (!strcmp(cmd, "confirm")) {
		if (agm_boot_confirm(BOOT_DEV) < 0) {
			printk("loader: nothing to confirm\n");
		}
	} else if (!strcmp(cmd, "rollback")) {
		if (agm_boot_rollback(BOOT_DEV) < 0) {
			printk("loader: no valid boot record\n");
		}
	} else if (!strcmp(cmd, "upload")) {
		char *arg = strtok(NULL, " \t\r\n");
		enum agm_boot_target target;

		if (arg == NULL) {
			printk("usage: upload <a|b|slot|bitstream>\n");
			return;
		}
		if (!strcmp(arg, "a")) {
			target = AGM_BOOT_TARGET_STORE_A;
		} else if (!strcmp(arg, "b")) {
			target = AGM_BOOT_TARGET_STORE_B;
		} else if (!strcmp(arg, "slot")) {
			target = AGM_BOOT_TARGET_SLOT;
		} else if (!strcmp(arg, "bitstream")) {
			target = AGM_BOOT_TARGET_BITSTREAM;
		} else {
			printk("usage: upload <a|b|slot|bitstream>\n");
			return;
		}
		agm_boot_upload_console(BOOT_DEV, target);
	} else if (!strcmp(cmd, "install-slot")) {
		if (agm_boot_install_slot(BOOT_DEV) < 0) {
			printk("loader: install-slot failed (see above)\n");
		}
#ifdef BOOT_LOADER_AN3155
	} else if (!strcmp(cmd, "an-status")) {
		agm_boot_an3155_status_print(BOOT_DEV);
#endif
	} else if (!strcmp(cmd, "erase")) {
		/* `erase [a|bitstream]`; a bare `erase` keeps its old meaning
		 * (drop store A's image). `erase bitstream` drops the pending
		 * bitstream *and* its boot record, which is how the board goes
		 * back to booting the factory slot. */
		char *arg = strtok(NULL, " \t\r\n");
		enum agm_boot_target target = AGM_BOOT_TARGET_STORE_A;

		if (arg == NULL || !strcmp(arg, "a")) {
			target = AGM_BOOT_TARGET_STORE_A;
		} else if (!strcmp(arg, "bitstream")) {
			target = AGM_BOOT_TARGET_BITSTREAM;
		} else {
			printk("usage: erase [a|bitstream]\n");
			return;
		}
		/* The driver prints why it refused (blank records are not a
		 * refusal: dropping an image that was never installed is a
		 * no-op), so only the code has to be added here.
		 */
		if (agm_boot_erase(BOOT_DEV, target) < 0) {
			printk("loader: erase failed\n");
		} else if (target == AGM_BOOT_TARGET_STORE_A) {
			printk("loader: store A is not referenced by the boot record "
			       "any more\n");
		}
	} else if (!strcmp(cmd, "reboot")) {
		printk("loader: rebooting (the boot path programs the FCB from "
		       "0x800e7000)\n");
		k_msleep(50);
		sys_reboot(SYS_REBOOT_COLD);
	} else if (!strcmp(cmd, "mode")) {
		char *arg = strtok(NULL, " \t\r\n");
		enum agm_boot_mode m;

		if (arg == NULL) {
			printk("usage: mode <auto|internal>\n");
			return;
		}
		if (!parse_mode(arg, &m)) {
			printk("usage: mode <auto|internal>\n");
			return;
		}
		(void)agm_boot_mode_set(BOOT_DEV, m);
	} else if (!strcmp(cmd, "once")) {
		char *arg = strtok(NULL, " \t\r\n");
		enum agm_boot_mode m;

		if (arg == NULL) {
			printk("usage: once <none|internal>\n");
			return;
		}
		if (!strcmp(arg, "none")) {
			if (agm_boot_once_arm(BOOT_DEV, AGM_BOOT_MODE_AUTO) < 0) {
				printk("loader: one-shot unavailable (the RTC backup "
				       "domain is not clocked in this build)\n");
				return;
			}
			printk("loader: one-shot cleared\n");
			return;
		}
		if (!parse_mode(arg, &m)) {
			printk("usage: once <none|internal>\n");
			return;
		}
		if (agm_boot_once_arm(BOOT_DEV, m) < 0) {
			printk("loader: one-shot unavailable (the RTC backup domain "
			       "is not clocked in this build)\n");
			return;
		}
		printk("loader: next boot = %s (one-shot)\n", agm_boot_mode_name(m));
	} else {
		printk("unknown command '%s' (try 'help')\n", cmd);
	}
}

int main(void)
{
	char line[96];

	printk("\n");
	printk("=========================================\n");
	printk(" spi_boot_loader (driver-based)\n");
	printk(" boot driver: %s\n",
	       device_is_ready(BOOT_DEV) ? "ready" : "NOT READY");
	printk("=========================================\n");
	printk("type 'help' for commands\n");

	if (device_is_ready(BOOT_DEV)) {
		print_info();
		/* Apply the policy once at startup; if it declines to boot we
		 * land back here and the console takes over. */
		(void)agm_boot_policy_run(BOOT_DEV, console_abort_requested);
	} else {
		printk("loader: boot driver unavailable -- is the devicetree node "
		       "enabled?\n");
	}

	while (1) {
		printk("loader> ");
		if (console_read_line(line, sizeof(line))) {
			handle_line(line);
		}
	}

	return 0;
}
```
